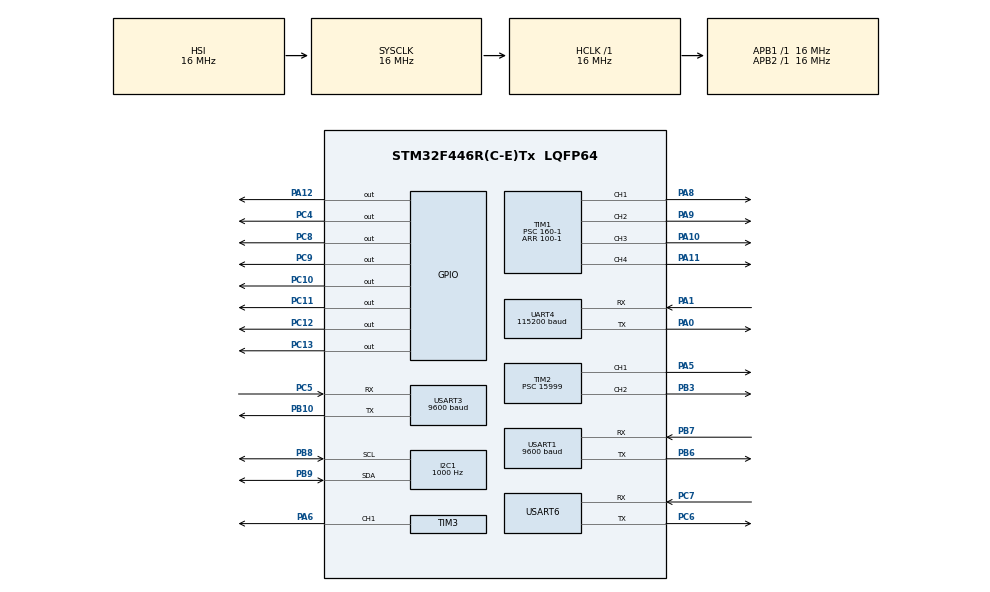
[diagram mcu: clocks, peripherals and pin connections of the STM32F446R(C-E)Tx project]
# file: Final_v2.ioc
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FREERTOS.Tasks01=defaultTask,24,128,StartDefaultTask,Default,NULL,Dynamic,NULL,NULL
FREERTOS.configUSE_NEWLIB_REENTRANT=1
I2C1.ClockSpeed=1000
Mcu.Family=STM32F4
Mcu.Name=STM32F446R(C-E)Tx
Mcu.Package=LQFP64
NVIC.PriorityGroup=NVIC_PRIORITYGROUP_4
NVIC.TIM2_IRQn=true\:5\:0\:false\:false\:true\:true\:true\:true\:true
NVIC.TIM6_DAC_IRQn=true\:15\:0\:false\:false\:true\:false\:false\:true\:true
NVIC.TimeBase=TIM6_DAC_IRQn
NVIC.TimeBaseIP=TIM6
NVIC.UART4_IRQn=true\:5\:0\:false\:false\:true\:true\:true\:true\:true
NVIC.USART1_IRQn=true\:5\:0\:false\:false\:true\:true\:true\:true\:true
NVIC.USART3_IRQn=true\:5\:0\:false\:false\:true\:true\:true\:true\:true
NVIC.USART6_IRQn=true\:5\:0\:false\:false\:true\:true\:true\:true\:true
PA0-WKUP.Mode=Asynchronous
PA0-WKUP.Signal=UART4_TX
PA1.Mode=Asynchronous
PA1.Signal=UART4_RX
PA10.Signal=S_TIM1_CH3
PA11.Signal=S_TIM1_CH4
PA12.Signal=GPIO_Output
PA5.Signal=S_TIM2_CH1_ETR
PA6.Signal=S_TIM3_CH1
PA8.Signal=S_TIM1_CH1
PA9.Signal=S_TIM1_CH2
PB10.Mode=Asynchronous
PB10.Signal=USART3_TX
PB3.Signal=S_TIM2_CH2
PB6.Mode=Asynchronous
PB6.Signal=USART1_TX
PB7.Mode=Asynchronous
PB7.Signal=USART1_RX
PB8.Mode=I2C
PB8.Signal=I2C1_SCL
PB9.Mode=I2C
PB9.Signal=I2C1_SDA
PC10.Signal=GPIO_Output
PC11.Signal=GPIO_Output
PC12.Signal=GPIO_Output
PC13.Signal=GPIO_Output
PC4.Signal=GPIO_Output
PC5.Mode=Asynchronous
PC5.Signal=USART3_RX
PC6.Mode=Asynchronous
PC6.Signal=USART6_TX
PC7.Mode=Asynchronous
PC7.Signal=USART6_RX
PC8.Signal=GPIO_Output
PC9.Signal=GPIO_Output
ProjectManager.HeapSize=0x200
ProjectManager.StackSize=0x400
ProjectManager.TargetToolchain=STM32CubeIDE
RCC.AHBFreq_Value=16000000
RCC.APB1Freq_Value=16000000
RCC.APB1TimFreq_Value=16000000
RCC.APB2Freq_Value=16000000
RCC.APB2TimFreq_Value=16000000
RCC.CortexFreq_Value=16000000
RCC.FLatency-AdvancedSettings=FLASH_LATENCY_0
RCC.HCLKFreq_Value=16000000
RCC.HSE_VALUE=8000000
RCC.HSI_VALUE=16000000
RCC.LSE_VALUE=32768
RCC.PLLN=336
RCC.PLLP=RCC_PLLP_DIV4
RCC.SYSCLKFreq_VALUE=16000000
RCC.USBFreq_Value=168000000
RCC.VCOOutputFreq_Value=336000000
SH.S_TIM1_CH1.0=TIM1_CH1,PWM Generation1 CH1
SH.S_TIM1_CH2.0=TIM1_CH2,PWM Generation2 CH2
SH.S_TIM1_CH3.0=TIM1_CH3,PWM Generation3 CH3
SH.S_TIM1_CH4.0=TIM1_CH4,PWM Generation4 CH4
SH.S_TIM2_CH1_ETR.0=TIM2_CH1,Output Compare1 CH1
SH.S_TIM2_CH2.0=TIM2_CH2,Output Compare2 CH2
SH.S_TIM3_CH1.0=TIM3_CH1,PWM Generation1 CH1
TIM1.Channel-PWM\ Generation1\ CH1=TIM_CHANNEL_1
TIM1.Channel-PWM\ Generation2\ CH2=TIM_CHANNEL_2
TIM1.Channel-PWM\ Generation3\ CH3=TIM_CHANNEL_3
TIM1.Channel-PWM\ Generation4\ CH4=TIM_CHANNEL_4
TIM1.Period=100-1
TIM1.Prescaler=160-1
TIM2.Channel-Output\ Compare1\ CH1=TIM_CHANNEL_1
TIM2.Channel-Output\ Compare2\ CH2=TIM_CHANNEL_2
TIM2.Period=999
TIM2.Prescaler=15999
TIM3.Channel-PWM\ Generation1\ CH1=TIM_CHANNEL_1
TIM3.Period=100-1
TIM3.Prescaler=80-1
UART4.BaudRate=115200
UART4.VirtualMode=Asynchronous
USART1.BaudRate=9600
USART1.VirtualMode=VM_ASYNC
USART3.BaudRate=9600
USART3.VirtualMode=VM_ASYNC
USART6.VirtualMode=VM_ASYNC
VP_FREERTOS_VS_CMSIS_V2.Mode=CMSIS_V2
VP_SYS_VS_tim6.Mode=TIM6
board=NUCLEO-F446RE

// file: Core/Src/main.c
/* USER CODE BEGIN Header */
/**
 ******************************************************************************
 * @file           : main.c
 * @brief          : Main program body
 ******************************************************************************
 * @attention
 *
 * Copyright (c) 2024 STMicroelectronics.
 * All rights reserved.
 *
 * This software is licensed under terms that can be found in the LICENSE file
 * in the root directory of this software component.
 * If no LICENSE file comes with this software, it is provided AS-IS.
 *
 ******************************************************************************
 */
/* USER CODE END Header */
#include "main.h"

/* USER CODE BEGIN Includes */
#include "FreeRTOS.h"
#include "task.h"
#include "timers.h"
#include "event_groups.h"
#include "semphr.h"
#include "LCD_I2C.h"
#include "Buzzer.h"
#include "GPS.h"
#include "NMEA.h"
#include "UartRingbuffer.h"
#include "Warning_Functions.h"
#include "App_Tasks.h"
#include "Call_Back_Functions.h"

/* USER CODE END Includes */

I2C_HandleTypeDef hi2c1;

TIM_HandleTypeDef htim1;
TIM_HandleTypeDef htim2;
TIM_HandleTypeDef htim3;

UART_HandleTypeDef huart4;
UART_HandleTypeDef huart1;
UART_HandleTypeDef huart3;
UART_HandleTypeDef huart6;

void SystemClock_Config(void);
static void MX_GPIO_Init(void);
static void MX_I2C1_Init(void);
static void MX_TIM1_Init(void);
static void MX_TIM2_Init(void);
static void MX_TIM3_Init(void);
static void MX_UART4_Init(void);
static void MX_USART1_UART_Init(void);
static void MX_USART6_UART_Init(void);
static void MX_USART3_UART_Init(void);

/* USER CODE BEGIN PFP */

/*****************************************Global_Varibles****************************************/

/*volat means that the char can change at any time without any action being taken by the code*/
volatile char Received_Char_Bluetooth;
volatile char Received_Char_ESP;

/* USER CODE END PFP */

/* USER CODE BEGIN 0 */

/*Task Hnadles Create*/

TaskHandle_t Handle_Car_Control;
TaskHandle_t Handle_Esp_Periodic;
TaskHandle_t Handle_Send_ESP_Status;
TaskHandle_t Handle_Recieve_ESP_Status;

/*Creating SW Timers handle and id*/

TimerHandle_t Handle_Timer_LCDBuzzer;
uint8_t ID_TImer_LCDBuzzer = 3;

/*Creating a variable to save the return of the xcreateTask function (pdPass or pdFail) */

BaseType_t Status_ControlCar;
BaseType_t Status_GPS;
BaseType_t Status_SendEspPeriodic;
BaseType_t Status_SendEsp_Status;
BaseType_t Status_Recieve_Status_Esp;

/* USER CODE END 0 */

int main(void)
{

	/* MCU Configuration--------------------------------------------------------*/

	/* Reset of all peripherals, Initializes the Flash interface and the Systick. */
	HAL_Init();

	/* Configure the system clock */
	SystemClock_Config();

	/* Initialize all configured peripherals */
	MX_GPIO_Init();
	MX_I2C1_Init();
	MX_TIM1_Init();
	MX_TIM2_Init();
	MX_TIM3_Init();
	MX_UART4_Init();
	MX_USART1_UART_Init();
	MX_USART6_UART_Init();
	MX_USART3_UART_Init();

	/* Init scheduler */
	/*****************************************Initializing***********************************************/
	//GPS_voidInit();
	LCD_voidInit();
	HAL_UART_Receive_IT(&huart3, (uint8_t *)&Received_Char_Bluetooth, 1);		//Bluetooth
	HAL_UART_Receive_IT(&huart4, (uint8_t *)&Received_Char_ESP, 2);				//ESP

	/*****************************************Speed_Sensor***********************************************/
	__HAL_TIM_ENABLE_IT(&htim2, TIM_IT_UPDATE);
	HAL_TIM_IC_Start_IT(&htim2, TIM_CHANNEL_1);
	HAL_TIM_IC_Start_IT(&htim2, TIM_CHANNEL_2);

	/* USER CODE END 2 */

	/* Init scheduler */
	//	osKernelInitialize();

	/* USER CODE BEGIN RTOS_THREADS */
	/*************************************Task Creation*********************************************/
	Handle_Timer_LCDBuzzer= xTimerCreate("Timer_LCDBuzzer", pdMS_TO_TICKS(10000), pdFALSE, &ID_TImer_LCDBuzzer, CallBack_TimerLCDBuzzer);

	Status_ControlCar = xTaskCreate(Task_ControlCar, NULL, 200, NULL, Task_Control_Car_Priority, &Handle_Car_Control);
	configASSERT(Status_ControlCar == pdPASS);

	Status_GPS = xTaskCreate(TASK_GPS, NULL, 200, NULL,Task_GPS_Priority , NULL);
	configASSERT(Status_GPS == pdPASS);

	Status_SendEspPeriodic = xTaskCreate(Task_SendEspPeriodic, NULL, 200, NULL, Task_Send_ESP_Periodic_Priority, &Handle_Esp_Periodic);
	configASSERT(Status_SendEspPeriodic == pdPASS);

//	Status_SendEsp_Status = xTaskCreate(Task_SendEsp_Status, NULL, 200, NULL, Task_Send_ESP_Status_Priority, &Handle_Send_ESP_Status);
//	configASSERT(Status_SendEsp_Status == pdPASS);

	  	Status_Recieve_Status_Esp = xTaskCreate(Task_Recieve_Status_Esp, NULL, 200, NULL, Task_Recieve_ESP_Priority, &Handle_Recieve_ESP_Status);
	  configASSERT(Status_Recieve_Status_Esp == pdPASS);

	/* Start scheduler */

	vTaskStartScheduler();

	/* We should never get here as control is now taken by the scheduler */
	/* Infinite loop */
	while (1)
	{

	}
}

void SystemClock_Config(void)
{
	RCC_OscInitTypeDef RCC_OscInitStruct = {0};
	RCC_ClkInitTypeDef RCC_ClkInitStruct = {0};

	/** Configure the main internal regulator output voltage
	 */
	__HAL_RCC_PWR_CLK_ENABLE();
	__HAL_PWR_VOLTAGESCALING_CONFIG(PWR_REGULATOR_VOLTAGE_SCALE3);

	/** Initializes the RCC Oscillators according to the specified parameters
	 * in the RCC_OscInitTypeDef structure.
	 */
	RCC_OscInitStruct.OscillatorType = RCC_OSCILLATORTYPE_HSI;
	RCC_OscInitStruct.HSIState = RCC_HSI_ON;
	RCC_OscInitStruct.HSICalibrationValue = RCC_HSICALIBRATION_DEFAULT;
	RCC_OscInitStruct.PLL.PLLState = RCC_PLL_NONE;
	if (HAL_RCC_OscConfig(&RCC_OscInitStruct) != HAL_OK)
	{
		Error_Handler();
	}

	/** Initializes the CPU, AHB and APB buses clocks
	 */
	RCC_ClkInitStruct.ClockType = RCC_CLOCKTYPE_HCLK|RCC_CLOCKTYPE_SYSCLK
			|RCC_CLOCKTYPE_PCLK1|RCC_CLOCKTYPE_PCLK2;
	RCC_ClkInitStruct.SYSCLKSource = RCC_SYSCLKSOURCE_HSI;
	RCC_ClkInitStruct.AHBCLKDivider = RCC_SYSCLK_DIV1;
	RCC_ClkInitStruct.APB1CLKDivider = RCC_HCLK_DIV1;
	RCC_ClkInitStruct.APB2CLKDivider = RCC_HCLK_DIV1;

	if (HAL_RCC_ClockConfig(&RCC_ClkInitStruct, FLASH_LATENCY_0) != HAL_OK)
	{
		Error_Handler();
	}
}

static void MX_I2C1_Init(void)
{

	hi2c1.Instance = I2C1;
	hi2c1.Init.ClockSpeed = 1000;
	hi2c1.Init.DutyCycle = I2C_DUTYCYCLE_2;
	hi2c1.Init.OwnAddress1 = 0;
	hi2c1.Init.AddressingMode = I2C_ADDRESSINGMODE_7BIT;
	hi2c1.Init.DualAddressMode = I2C_DUALADDRESS_DISABLE;
	hi2c1.Init.OwnAddress2 = 0;
	hi2c1.Init.GeneralCallMode = I2C_GENERALCALL_DISABLE;
	hi2c1.Init.NoStretchMode = I2C_NOSTRETCH_DISABLE;
	if (HAL_I2C_Init(&hi2c1) != HAL_OK)
	{
		Error_Handler();
	}

}

static void MX_TIM1_Init(void)
{

	TIM_MasterConfigTypeDef sMasterConfig = {0};
	TIM_OC_InitTypeDef sConfigOC = {0};
	TIM_BreakDeadTimeConfigTypeDef sBreakDeadTimeConfig = {0};

	htim1.Instance = TIM1;
	htim1.Init.Prescaler = 160-1;
	htim1.Init.CounterMode = TIM_COUNTERMODE_UP;
	htim1.Init.Period = 100-1;
	htim1.Init.ClockDivision = TIM_CLOCKDIVISION_DIV1;
	htim1.Init.RepetitionCounter = 0;
	htim1.Init.AutoReloadPreload = TIM_AUTORELOAD_PRELOAD_DISABLE;
	if (HAL_TIM_PWM_Init(&htim1) != HAL_OK)
	{
		Error_Handler();
	}
	sMasterConfig.MasterOutputTrigger = TIM_TRGO_RESET;
	sMasterConfig.MasterSlaveMode = TIM_MASTERSLAVEMODE_DISABLE;
	if (HAL_TIMEx_MasterConfigSynchronization(&htim1, &sMasterConfig) != HAL_OK)
	{
		Error_Handler();
	}
	sConfigOC.OCMode = TIM_OCMODE_PWM1;
	sConfigOC.Pulse = 0;
	sConfigOC.OCPolarity = TIM_OCPOLARITY_HIGH;
	sConfigOC.OCNPolarity = TIM_OCNPOLARITY_HIGH;
	sConfigOC.OCFastMode = TIM_OCFAST_DISABLE;
	sConfigOC.OCIdleState = TIM_OCIDLESTATE_RESET;
	sConfigOC.OCNIdleState = TIM_OCNIDLESTATE_RESET;
	if (HAL_TIM_PWM_ConfigChannel(&htim1, &sConfigOC, TIM_CHANNEL_1) != HAL_OK)
	{
		Error_Handler();
	}
	if (HAL_TIM_PWM_ConfigChannel(&htim1, &sConfigOC, TIM_CHANNEL_2) != HAL_OK)
	{
		Error_Handler();
	}
	if (HAL_TIM_PWM_ConfigChannel(&htim1, &sConfigOC, TIM_CHANNEL_3) != HAL_OK)
	{
		Error_Handler();
	}
	if (HAL_TIM_PWM_ConfigChannel(&htim1, &sConfigOC, TIM_CHANNEL_4) != HAL_OK)
	{
		Error_Handler();
	}
	sBreakDeadTimeConfig.OffStateRunMode = TIM_OSSR_DISABLE;
	sBreakDeadTimeConfig.OffStateIDLEMode = TIM_OSSI_DISABLE;
	sBreakDeadTimeConfig.LockLevel = TIM_LOCKLEVEL_OFF;
	sBreakDeadTimeConfig.DeadTime = 0;
	sBreakDeadTimeConfig.BreakState = TIM_BREAK_DISABLE;
	sBreakDeadTimeConfig.BreakPolarity = TIM_BREAKPOLARITY_HIGH;
	sBreakDeadTimeConfig.AutomaticOutput = TIM_AUTOMATICOUTPUT_DISABLE;
	if (HAL_TIMEx_ConfigBreakDeadTime(&htim1, &sBreakDeadTimeConfig) != HAL_OK)
	{
		Error_Handler();
	}
	HAL_TIM_MspPostInit(&htim1);

}

static void MX_TIM2_Init(void)
{

	TIM_MasterConfigTypeDef sMasterConfig = {0};
	TIM_OC_InitTypeDef sConfigOC = {0};

	htim2.Instance = TIM2;
	htim2.Init.Prescaler = 15999;
	htim2.Init.CounterMode = TIM_COUNTERMODE_UP;
	htim2.Init.Period = 999;
	htim2.Init.ClockDivision = TIM_CLOCKDIVISION_DIV1;
	htim2.Init.AutoReloadPreload = TIM_AUTORELOAD_PRELOAD_DISABLE;
	if (HAL_TIM_OC_Init(&htim2) != HAL_OK)
	{
		Error_Handler();
	}
	sMasterConfig.MasterOutputTrigger = TIM_TRGO_RESET;
	sMasterConfig.MasterSlaveMode = TIM_MASTERSLAVEMODE_DISABLE;
	if (HAL_TIMEx_MasterConfigSynchronization(&htim2, &sMasterConfig) != HAL_OK)
	{
		Error_Handler();
	}
	sConfigOC.OCMode = TIM_OCMODE_TIMING;
	sConfigOC.Pulse = 0;
	sConfigOC.OCPolarity = TIM_OCPOLARITY_HIGH;
	sConfigOC.OCFastMode = TIM_OCFAST_DISABLE;
	if (HAL_TIM_OC_ConfigChannel(&htim2, &sConfigOC, TIM_CHANNEL_1) != HAL_OK)
	{
		Error_Handler();
	}
	if (HAL_TIM_OC_ConfigChannel(&htim2, &sConfigOC, TIM_CHANNEL_2) != HAL_OK)
	{
		Error_Handler();
	}
	HAL_TIM_MspPostInit(&htim2);

}

static void MX_TIM3_Init(void)
{

	TIM_MasterConfigTypeDef sMasterConfig = {0};
	TIM_OC_InitTypeDef sConfigOC = {0};

	htim3.Instance = TIM3;
	htim3.Init.Prescaler = 80-1;
	htim3.Init.CounterMode = TIM_COUNTERMODE_UP;
	htim3.Init.Period = 100-1;
	htim3.Init.ClockDivision = TIM_CLOCKDIVISION_DIV1;
	htim3.Init.AutoReloadPreload = TIM_AUTORELOAD_PRELOAD_DISABLE;
	if (HAL_TIM_PWM_Init(&htim3) != HAL_OK)
	{
		Error_Handler();
	}
	sMasterConfig.MasterOutputTrigger = TIM_TRGO_RESET;
	sMasterConfig.MasterSlaveMode = TIM_MASTERSLAVEMODE_DISABLE;
	if (HAL_TIMEx_MasterConfigSynchronization(&htim3, &sMasterConfig) != HAL_OK)
	{
		Error_Handler();
	}
	sConfigOC.OCMode = TIM_OCMODE_PWM1;
	sConfigOC.Pulse = 0;
	sConfigOC.OCPolarity = TIM_OCPOLARITY_HIGH;
	sConfigOC.OCFastMode = TIM_OCFAST_DISABLE;
	if (HAL_TIM_PWM_ConfigChannel(&htim3, &sConfigOC, TIM_CHANNEL_1) != HAL_OK)
	{
		Error_Handler();
	}
	HAL_TIM_MspPostInit(&htim3);

}

static void MX_UART4_Init(void)
{

	huart4.Instance = UART4;
	huart4.Init.BaudRate = 115200;
	huart4.Init.WordLength = UART_WORDLENGTH_8B;
	huart4.Init.StopBits = UART_STOPBITS_1;
	huart4.Init.Parity = UART_PARITY_NONE;
	huart4.Init.Mode = UART_MODE_TX_RX;
	huart4.Init.HwFlowCtl = UART_HWCONTROL_NONE;
	huart4.Init.OverSampling = UART_OVERSAMPLING_16;
	if (HAL_UART_Init(&huart4) != HAL_OK)
	{
		Error_Handler();
	}

}

static void MX_USART1_UART_Init(void)
{

	huart1.Instance = USART1;
	huart1.Init.BaudRate = 9600;
	huart1.Init.WordLength = UART_WORDLENGTH_8B;
	huart1.Init.StopBits = UART_STOPBITS_1;
	huart1.Init.Parity = UART_PARITY_NONE;
	huart1.Init.Mode = UART_MODE_TX_RX;
	huart1.Init.HwFlowCtl = UART_HWCONTROL_NONE;
	huart1.Init.OverSampling = UART_OVERSAMPLING_16;
	if (HAL_UART_Init(&huart1) != HAL_OK)
	{
		Error_Handler();
	}

}

static void MX_USART3_UART_Init(void)
{

	huart3.Instance = USART3;
	huart3.Init.BaudRate = 9600;
	huart3.Init.WordLength = UART_WORDLENGTH_8B;
	huart3.Init.StopBits = UART_STOPBITS_1;
	huart3.Init.Parity = UART_PARITY_NONE;
	huart3.Init.Mode = UART_MODE_TX_RX;
	huart3.Init.HwFlowCtl = UART_HWCONTROL_NONE;
	huart3.Init.OverSampling = UART_OVERSAMPLING_16;
	if (HAL_UART_Init(&huart3) != HAL_OK)
	{
		Error_Handler();
	}

}

static void MX_USART6_UART_Init(void)
{

	huart6.Instance = USART6;
	huart6.Init.BaudRate = 115200;
	huart6.Init.WordLength = UART_WORDLENGTH_8B;
	huart6.Init.StopBits = UART_STOPBITS_1;
	huart6.Init.Parity = UART_PARITY_NONE;
	huart6.Init.Mode = UART_MODE_TX_RX;
	huart6.Init.HwFlowCtl = UART_HWCONTROL_NONE;
	huart6.Init.OverSampling = UART_OVERSAMPLING_16;
	if (HAL_UART_Init(&huart6) != HAL_OK)
	{
		Error_Handler();
	}

}

static void MX_GPIO_Init(void)
{
	GPIO_InitTypeDef GPIO_InitStruct = {0};

	/* GPIO Ports Clock Enable */
	__HAL_RCC_GPIOC_CLK_ENABLE();
	__HAL_RCC_GPIOA_CLK_ENABLE();
	__HAL_RCC_GPIOB_CLK_ENABLE();

	/*Configure GPIO pin Output Level */
	HAL_GPIO_WritePin(GPIOC, GPIO_PIN_13|GPIO_PIN_4|GPIO_PIN_8|GPIO_PIN_9
			|GPIO_PIN_10|GPIO_PIN_11|GPIO_PIN_12, GPIO_PIN_RESET);

	/*Configure GPIO pin Output Level */
	HAL_GPIO_WritePin(GPIOA, GPIO_PIN_12, GPIO_PIN_RESET);

	/*Configure GPIO pins : PC13 PC4 PC8 PC9
                           PC10 PC11 PC12 */
	GPIO_InitStruct.Pin = GPIO_PIN_13|GPIO_PIN_4|GPIO_PIN_8|GPIO_PIN_9
			|GPIO_PIN_10|GPIO_PIN_11|GPIO_PIN_12;
	GPIO_InitStruct.Mode = GPIO_MODE_OUTPUT_PP;
	GPIO_InitStruct.Pull = GPIO_NOPULL;
	GPIO_InitStruct.Speed = GPIO_SPEED_FREQ_LOW;
	HAL_GPIO_Init(GPIOC, &GPIO_InitStruct);

	/*Configure GPIO pin : PA12 */
	GPIO_InitStruct.Pin = GPIO_PIN_12;
	GPIO_InitStruct.Mode = GPIO_MODE_OUTPUT_PP;
	GPIO_InitStruct.Pull = GPIO_NOPULL;
	GPIO_InitStruct.Speed = GPIO_SPEED_FREQ_LOW;
	HAL_GPIO_Init(GPIOA, &GPIO_InitStruct);

}

void StartDefaultTask(void *argument)
{
	for(;;)
	{
		osDelay(1);
	}
}

void HAL_TIM_PeriodElapsedCallback(TIM_HandleTypeDef *htim)
{
	if (htim->Instance == TIM6) {
		HAL_IncTick();
	}
}

void Error_Handler(void)
{
	__disable_irq();
	while (1)
	{
	}
}
